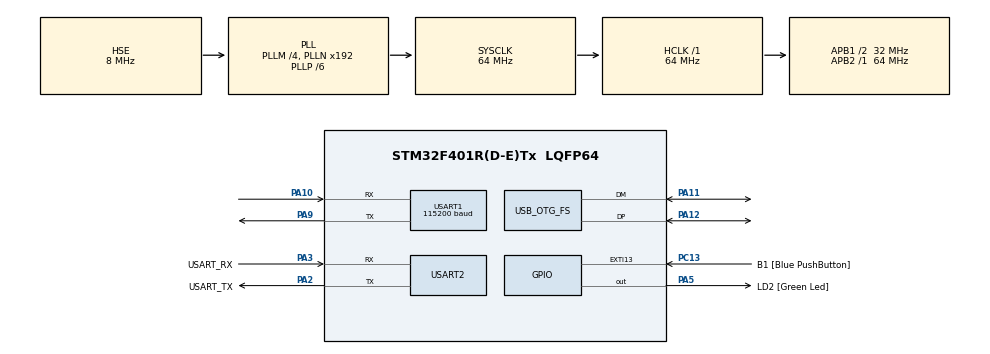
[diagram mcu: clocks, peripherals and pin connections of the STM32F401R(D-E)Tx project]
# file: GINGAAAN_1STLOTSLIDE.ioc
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Dma.Request0=USART1_TX
Dma.Request1=USART1_RX
Dma.Request2=USART2_RX
Dma.Request3=USART2_TX
Dma.USART1_RX.1.Direction=DMA_PERIPH_TO_MEMORY
Dma.USART1_RX.1.FIFOMode=DMA_FIFOMODE_DISABLE
Dma.USART1_RX.1.Instance=DMA2_Stream2
Dma.USART1_RX.1.MemDataAlignment=DMA_MDATAALIGN_BYTE
Dma.USART1_RX.1.MemInc=DMA_MINC_ENABLE
Dma.USART1_RX.1.Mode=DMA_NORMAL
Dma.USART1_RX.1.PeriphDataAlignment=DMA_PDATAALIGN_BYTE
Dma.USART1_RX.1.PeriphInc=DMA_PINC_DISABLE
Dma.USART1_RX.1.Priority=DMA_PRIORITY_LOW
Dma.USART1_TX.0.Direction=DMA_MEMORY_TO_PERIPH
Dma.USART1_TX.0.FIFOMode=DMA_FIFOMODE_DISABLE
Dma.USART1_TX.0.Instance=DMA2_Stream7
Dma.USART1_TX.0.MemDataAlignment=DMA_MDATAALIGN_BYTE
Dma.USART1_TX.0.MemInc=DMA_MINC_ENABLE
Dma.USART1_TX.0.Mode=DMA_NORMAL
Dma.USART1_TX.0.PeriphDataAlignment=DMA_PDATAALIGN_BYTE
Dma.USART1_TX.0.PeriphInc=DMA_PINC_DISABLE
Dma.USART1_TX.0.Priority=DMA_PRIORITY_LOW
Dma.USART2_RX.2.Direction=DMA_PERIPH_TO_MEMORY
Dma.USART2_RX.2.FIFOMode=DMA_FIFOMODE_DISABLE
Dma.USART2_RX.2.Instance=DMA1_Stream5
Dma.USART2_RX.2.MemDataAlignment=DMA_MDATAALIGN_BYTE
Dma.USART2_RX.2.MemInc=DMA_MINC_ENABLE
Dma.USART2_RX.2.Mode=DMA_NORMAL
Dma.USART2_RX.2.PeriphDataAlignment=DMA_PDATAALIGN_BYTE
Dma.USART2_RX.2.PeriphInc=DMA_PINC_DISABLE
Dma.USART2_RX.2.Priority=DMA_PRIORITY_LOW
Dma.USART2_TX.3.Direction=DMA_MEMORY_TO_PERIPH
Dma.USART2_TX.3.FIFOMode=DMA_FIFOMODE_DISABLE
Dma.USART2_TX.3.Instance=DMA1_Stream6
Dma.USART2_TX.3.MemDataAlignment=DMA_MDATAALIGN_BYTE
Dma.USART2_TX.3.MemInc=DMA_MINC_ENABLE
Dma.USART2_TX.3.Mode=DMA_NORMAL
Dma.USART2_TX.3.PeriphDataAlignment=DMA_PDATAALIGN_BYTE
Dma.USART2_TX.3.PeriphInc=DMA_PINC_DISABLE
Dma.USART2_TX.3.Priority=DMA_PRIORITY_LOW
Mcu.Family=STM32F4
Mcu.Name=STM32F401R(D-E)Tx
Mcu.Package=LQFP64
NVIC.DMA1_Stream5_IRQn=true\:0\:0\:false\:false\:true\:false\:true
NVIC.DMA1_Stream6_IRQn=true\:0\:0\:false\:false\:true\:false\:true
NVIC.DMA2_Stream2_IRQn=true\:0\:0\:false\:false\:true\:false\:true
NVIC.DMA2_Stream7_IRQn=true\:0\:0\:false\:false\:true\:false\:true
NVIC.OTG_FS_IRQn=true\:0\:0\:false\:false\:true\:true\:true
NVIC.PriorityGroup=NVIC_PRIORITYGROUP_0
NVIC.USART1_IRQn=true\:0\:0\:false\:false\:true\:true\:true
NVIC.USART2_IRQn=true\:0\:0\:false\:false\:true\:true\:true
PA10.Mode=Asynchronous
PA10.Signal=USART1_RX
PA11.Mode=Device_Only
PA11.Signal=USB_OTG_FS_DM
PA12.GPIO_PuPd=GPIO_PULLUP
PA12.Mode=Device_Only
PA12.Signal=USB_OTG_FS_DP
PA13.GPIO_Label=TMS
PA13.Mode=Serial_Wire
PA13.Signal=SYS_JTMS-SWDIO
PA14.GPIO_Label=TCK
PA14.Mode=Serial_Wire
PA14.Signal=SYS_JTCK-SWCLK
PA2.GPIO_Label=USART_TX
PA2.GPIO_Mode=GPIO_MODE_AF_PP
PA2.GPIO_PuPd=GPIO_NOPULL
PA2.GPIO_Speed=GPIO_SPEED_FREQ_LOW
PA2.Mode=Asynchronous
PA2.Signal=USART2_TX
PA3.GPIO_Label=USART_RX
PA3.GPIO_Mode=GPIO_MODE_AF_PP
PA3.GPIO_PuPd=GPIO_NOPULL
PA3.GPIO_Speed=GPIO_SPEED_FREQ_LOW
PA3.Mode=Asynchronous
PA3.Signal=USART2_RX
PA5.GPIO_Label=LD2 [Green Led]
PA5.GPIO_Mode=GPIO_MODE_OUTPUT_PP
PA5.GPIO_PuPd=GPIO_NOPULL
PA5.GPIO_Speed=GPIO_SPEED_FREQ_LOW
PA5.Signal=GPIO_Output
PA9.Mode=Asynchronous
PA9.Signal=USART1_TX
PB3.GPIO_Label=SWO
PB3.Signal=SYS_JTDO-SWO
PC13-ANTI_TAMP.GPIO_Label=B1 [Blue PushButton]
PC13-ANTI_TAMP.GPIO_ModeDefaultEXTI=GPIO_MODE_IT_FALLING
PC13-ANTI_TAMP.GPIO_PuPd=GPIO_NOPULL
PC13-ANTI_TAMP.Signal=GPXTI13
PC14-OSC32_IN.Mode=LSE-External-Oscillator
PC14-OSC32_IN.Signal=RCC_OSC32_IN
PC15-OSC32_OUT.Mode=LSE-External-Oscillator
PC15-OSC32_OUT.Signal=RCC_OSC32_OUT
PH0\ -\ OSC_IN.Mode=HSE-External-Clock-Source
PH0\ -\ OSC_IN.Signal=RCC_OSC_IN
PH1\ -\ OSC_OUT.Mode=HSE-External-Clock-Source
PH1\ -\ OSC_OUT.Signal=RCC_OSC_OUT
ProjectManager.HeapSize=0x200
ProjectManager.StackSize=0x400
ProjectManager.TargetToolchain=STM32CubeIDE
RCC.48MHZClocksFreq_Value=48000000
RCC.AHBFreq_Value=64000000
RCC.APB1CLKDivider=RCC_HCLK_DIV2
RCC.APB1Freq_Value=32000000
RCC.APB1TimFreq_Value=64000000
RCC.APB2Freq_Value=64000000
RCC.APB2TimFreq_Value=64000000
RCC.CortexFreq_Value=64000000
RCC.HCLKFreq_Value=64000000
RCC.HSE_VALUE=8000000
RCC.HSI_VALUE=16000000
RCC.PLLM=4
RCC.PLLP=RCC_PLLP_DIV6
RCC.PLLQ=8
RCC.SYSCLKFreq_VALUE=64000000
RCC.SYSCLKSource=RCC_SYSCLKSOURCE_PLLCLK
RCC.VCOOutputFreq_Value=384000000
USART1.BaudRate=115200
USART1.VirtualMode=VM_ASYNC
USART2.VirtualMode=VM_ASYNC
USB_DEVICE.CLASS_NAME_FS=HID
USB_DEVICE.VirtualMode-HID_FS=Hid
USB_DEVICE.VirtualModeFS=Hid_FS
USB_OTG_FS.VirtualMode=Device_Only
VP_USB_DEVICE_VS_USB_DEVICE_HID_FS.Mode=HID_FS
board=NUCLEO-F401RE

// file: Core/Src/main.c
/* USER CODE BEGIN Header */
/**
  ******************************************************************************
  * @file           : main.c
  * @brief          : Main program body
  ******************************************************************************
  * @attention
  *
  * <h2><center>&copy; Copyright (c) 2024 STMicroelectronics.
  * All rights reserved.</center></h2>
  *
  * This software component is licensed by ST under BSD 3-Clause license,
  * the "License"; You may not use this file except in compliance with the
  * License. You may obtain a copy of the License at:
  *                        opensource.org/licenses/BSD-3-Clause
  *
  ******************************************************************************
  */
/* USER CODE END Header */
#include "main.h"
#include "usb_device.h"

UART_HandleTypeDef huart1;
UART_HandleTypeDef huart2;
DMA_HandleTypeDef hdma_usart1_tx;
DMA_HandleTypeDef hdma_usart1_rx;
DMA_HandleTypeDef hdma_usart2_rx;
DMA_HandleTypeDef hdma_usart2_tx;

/* USER CODE BEGIN PV */
//USBD_HandleTypeDef hUsbDeviceFS;
volatile uint32_t G_System_counter = 0;
/* USER CODE END PV */

void SystemClock_Config(void);
static void MX_GPIO_Init(void);
static void MX_DMA_Init(void);
static void MX_USART1_UART_Init(void);
static void MX_USART2_UART_Init(void);

int main(void)
{

  /* MCU Configuration--------------------------------------------------------*/

  /* Reset of all peripherals, Initializes the Flash interface and the Systick. */
  HAL_Init();

  /* Configure the system clock */
  SystemClock_Config();

  /* Initialize all configured peripherals */
  MX_GPIO_Init();
  MX_DMA_Init();
  MX_USART1_UART_Init();
  MX_USART2_UART_Init();
  MX_USB_DEVICE_Init();
  /* USER CODE BEGIN 2 */
  appInit();
  struct keyboardHID_t {
	  uint8_t modifiers;
	  uint8_t reserved;
	  uint8_t key[38];
  };
  struct keyboardHID_t keyboardHID;
  keyboardHID.modifiers = 0;
  keyboardHID.reserved = 0;
  for(int i = 0 ;i < 38; i++){
	  keyboardHID.key[i] = 0;
  }
  /* USER CODE END 2 */

  /* Infinite loop */
  /* USER CODE BEGIN WHILE */
  while (1)
  {
	  appTask();
    /* USER CODE END WHILE */

    /* USER CODE BEGIN 3 */
	  if(HAL_GPIO_ReadPin(GPIOC,GPIO_PIN_13) == 0){
		  /*
		  keyboardHID.key[0] = KEYBOARD_1;
		  keyboardHID.key[1] = KEYBOARD_A;
		  keyboardHID.key[2] = KEYBOARD_Q;
		  keyboardHID.key[3] = KEYBOARD_Z;
		  keyboardHID.key[4] = KEYBOARD_2;
		  keyboardHID.key[5] = KEYBOARD_S;
		  keyboardHID.key[6] = KEYBOARD_W;
		  keyboardHID.key[7] = KEYBOARD_X;
		  keyboardHID.key[8] = KEYBOARD_3;
		  keyboardHID.key[9] = KEYBOARD_D;
		  keyboardHID.key[10] = KEYBOARD_E;
		  keyboardHID.key[11] = KEYBOARD_C;
		  keyboardHID.key[12] = KEYBOARD_4;
		  keyboardHID.key[13] = KEYBOARD_F;
		  keyboardHID.key[14] = KEYBOARD_R;
		  keyboardHID.key[15] = KEYBOARD_V;
		  keyboardHID.key[16] = KEYBOARD_5;
		  keyboardHID.key[17] = KEYBOARD_G;
		  keyboardHID.key[18] = KEYBOARD_T;
		  keyboardHID.key[19] = KEYBOARD_B;
		  keyboardHID.key[20] = KEYBOARD_6;
		  keyboardHID.key[21] = KEYBOARD_H;
		  keyboardHID.key[22] = KEYBOARD_Y;
		  keyboardHID.key[23] = KEYBOARD_N;
		  keyboardHID.key[24] = KEYBOARD_7;
		  keyboardHID.key[25] = KEYBOARD_J;
		  keyboardHID.key[26] = KEYBOARD_U;
		  keyboardHID.key[27] = KEYBOARD_M;
		  keyboardHID.key[28] = KEYBOARD_8;
		  keyboardHID.key[29] = KEYBOARD_K;
		  keyboardHID.key[30] = KEYBOARD_I;
		  keyboardHID.key[31] = KEYBOARD_COMMA;
		  keyboardHID.key[32] = KEYBOARD_ATMARK;
		  keyboardHID.key[33] = KEYBOARD_LEFTSQUAREBRACKETS;
		  keyboardHID.key[34] = KEYBOARD_SEMICOLON;
		  keyboardHID.key[35] = KEYBOARD_COLON;
		  keyboardHID.key[36] = KEYBOARD_PERIOD;
		  keyboardHID.key[37] = KEYBOARD_SLASH;
		  */
	  }else{

	  }
	  /*
	  if(G_System_counter >= 1){
		  G_System_counter = 0;
		  USBD_HID_SendReport(&hUsbDeviceFS, &keyboardHID, sizeof(struct keyboardHID_t));
		  for(int i = 0 ;i < 38; i++){
			  keyboardHID.key[i] = 0;
		  }
	  }
	  */
	  D_Slider_SystickUpdate();
	  //D_USBHID_SysticUpdate();
	  D_Mess_flush();
  }
  /* USER CODE END 3 */
}

void SystemClock_Config(void)
{
  RCC_OscInitTypeDef RCC_OscInitStruct = {0};
  RCC_ClkInitTypeDef RCC_ClkInitStruct = {0};

  /** Configure the main internal regulator output voltage
  */
  __HAL_RCC_PWR_CLK_ENABLE();
  __HAL_PWR_VOLTAGESCALING_CONFIG(PWR_REGULATOR_VOLTAGE_SCALE2);
  /** Initializes the RCC Oscillators according to the specified parameters
  * in the RCC_OscInitTypeDef structure.
  */
  RCC_OscInitStruct.OscillatorType = RCC_OSCILLATORTYPE_HSE;
  RCC_OscInitStruct.HSEState = RCC_HSE_BYPASS;
  RCC_OscInitStruct.PLL.PLLState = RCC_PLL_ON;
  RCC_OscInitStruct.PLL.PLLSource = RCC_PLLSOURCE_HSE;
  RCC_OscInitStruct.PLL.PLLM = 4;
  RCC_OscInitStruct.PLL.PLLN = 192;
  RCC_OscInitStruct.PLL.PLLP = RCC_PLLP_DIV6;
  RCC_OscInitStruct.PLL.PLLQ = 8;
  if (HAL_RCC_OscConfig(&RCC_OscInitStruct) != HAL_OK)
  {
    Error_Handler();
  }
  /** Initializes the CPU, AHB and APB buses clocks
  */
  RCC_ClkInitStruct.ClockType = RCC_CLOCKTYPE_HCLK|RCC_CLOCKTYPE_SYSCLK
                              |RCC_CLOCKTYPE_PCLK1|RCC_CLOCKTYPE_PCLK2;
  RCC_ClkInitStruct.SYSCLKSource = RCC_SYSCLKSOURCE_PLLCLK;
  RCC_ClkInitStruct.AHBCLKDivider = RCC_SYSCLK_DIV1;
  RCC_ClkInitStruct.APB1CLKDivider = RCC_HCLK_DIV2;
  RCC_ClkInitStruct.APB2CLKDivider = RCC_HCLK_DIV1;

  if (HAL_RCC_ClockConfig(&RCC_ClkInitStruct, FLASH_LATENCY_2) != HAL_OK)
  {
    Error_Handler();
  }
}

static void MX_USART1_UART_Init(void)
{

  huart1.Instance = USART1;
  huart1.Init.BaudRate = 115200;
  huart1.Init.WordLength = UART_WORDLENGTH_8B;
  huart1.Init.StopBits = UART_STOPBITS_1;
  huart1.Init.Parity = UART_PARITY_NONE;
  huart1.Init.Mode = UART_MODE_TX_RX;
  huart1.Init.HwFlowCtl = UART_HWCONTROL_NONE;
  huart1.Init.OverSampling = UART_OVERSAMPLING_16;
  if (HAL_UART_Init(&huart1) != HAL_OK)
  {
    Error_Handler();
  }

}

static void MX_USART2_UART_Init(void)
{

  huart2.Instance = USART2;
  huart2.Init.BaudRate = 115200;
  huart2.Init.WordLength = UART_WORDLENGTH_8B;
  huart2.Init.StopBits = UART_STOPBITS_1;
  huart2.Init.Parity = UART_PARITY_NONE;
  huart2.Init.Mode = UART_MODE_TX_RX;
  huart2.Init.HwFlowCtl = UART_HWCONTROL_NONE;
  huart2.Init.OverSampling = UART_OVERSAMPLING_16;
  if (HAL_UART_Init(&huart2) != HAL_OK)
  {
    Error_Handler();
  }

}

static void MX_DMA_Init(void)
{

  /* DMA controller clock enable */
  __HAL_RCC_DMA2_CLK_ENABLE();
  __HAL_RCC_DMA1_CLK_ENABLE();

  /* DMA interrupt init */
  /* DMA1_Stream5_IRQn interrupt configuration */
  HAL_NVIC_SetPriority(DMA1_Stream5_IRQn, 0, 0);
  HAL_NVIC_EnableIRQ(DMA1_Stream5_IRQn);
  /* DMA1_Stream6_IRQn interrupt configuration */
  HAL_NVIC_SetPriority(DMA1_Stream6_IRQn, 0, 0);
  HAL_NVIC_EnableIRQ(DMA1_Stream6_IRQn);
  /* DMA2_Stream2_IRQn interrupt configuration */
  HAL_NVIC_SetPriority(DMA2_Stream2_IRQn, 0, 0);
  HAL_NVIC_EnableIRQ(DMA2_Stream2_IRQn);
  /* DMA2_Stream7_IRQn interrupt configuration */
  HAL_NVIC_SetPriority(DMA2_Stream7_IRQn, 0, 0);
  HAL_NVIC_EnableIRQ(DMA2_Stream7_IRQn);

}

static void MX_GPIO_Init(void)
{
  GPIO_InitTypeDef GPIO_InitStruct = {0};

  /* GPIO Ports Clock Enable */
  __HAL_RCC_GPIOC_CLK_ENABLE();
  __HAL_RCC_GPIOH_CLK_ENABLE();
  __HAL_RCC_GPIOA_CLK_ENABLE();
  __HAL_RCC_GPIOB_CLK_ENABLE();

  /*Configure GPIO pin Output Level */
  HAL_GPIO_WritePin(LD2_GPIO_Port, LD2_Pin, GPIO_PIN_RESET);

  /*Configure GPIO pin : B1_Pin */
  GPIO_InitStruct.Pin = B1_Pin;
  GPIO_InitStruct.Mode = GPIO_MODE_IT_FALLING;
  GPIO_InitStruct.Pull = GPIO_NOPULL;
  HAL_GPIO_Init(B1_GPIO_Port, &GPIO_InitStruct);

  /*Configure GPIO pin : LD2_Pin */
  GPIO_InitStruct.Pin = LD2_Pin;
  GPIO_InitStruct.Mode = GPIO_MODE_OUTPUT_PP;
  GPIO_InitStruct.Pull = GPIO_NOPULL;
  GPIO_InitStruct.Speed = GPIO_SPEED_FREQ_LOW;
  HAL_GPIO_Init(LD2_GPIO_Port, &GPIO_InitStruct);

}

/* USER CODE BEGIN 4 */
void HAL_UART_TxCpltCallback(UART_HandleTypeDef *UartHandle){
  UNUSED(UartHandle);
  if(UartHandle->Instance == USART2){
	  D_Mess_TransitionCompletedCallBack();
  }else if(UartHandle->Instance == USART1){
	  D_Slider_TransitionCompletedCallBack();
  }
}
void HAL_UART_RxCpltCallback(UART_HandleTypeDef *UartHandle){
  UNUSED(UartHandle);
  if(UartHandle->Instance == USART2){
	  D_Mess_ReceptionCompletedCallBack();
  }else if(UartHandle->Instance == USART1){
	  D_Slider_ReceptionCompletedCallBack();
  }
}
/* USER CODE END 4 */

void Error_Handler(void)
{
  __disable_irq();
  while (1)
  {
  }
}

/************************ (C) COPYRIGHT STMicroelectronics *****END OF FILE****/
